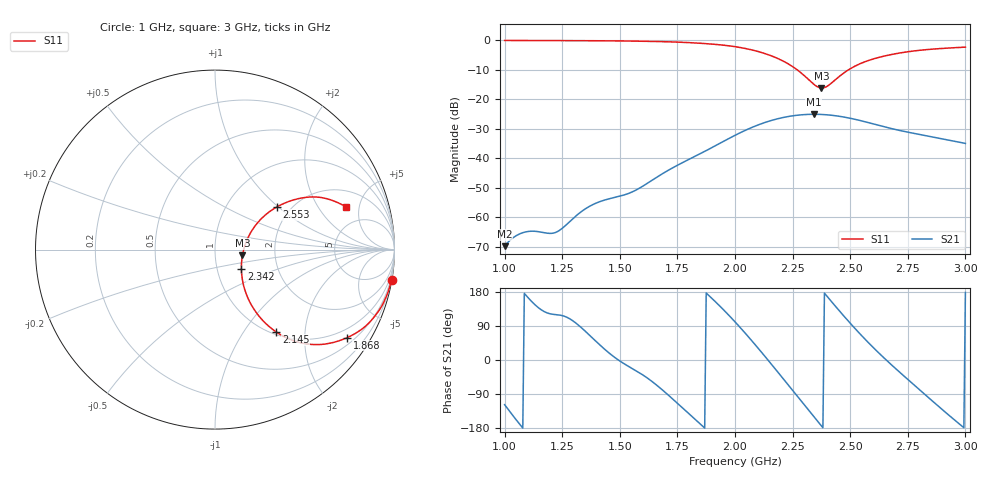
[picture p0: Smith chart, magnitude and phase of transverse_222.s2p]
! TOUCHSTONE file generated by CST MICROWAVE STUDIO
! Date and time: Tue Mar 11 13:57:51 2025
! Project name: transverse.cst
! Parameters = {Fracture=5; B=10; D=160; F=5; Feed=2.85625; L=100; M=20; R=0.384908; S=1; Theta=270; length=57.125; wave=114.25}
! Header version: 2024
! Port assignment regex: !\s*Touchstone port\s*([0-9]+)\s*=\s*(CST MWS port|CST DES external port|CST DES block port)\s*(.+)\s* \(\"(.*)\"\)(\s*mode\s*([0-9]+))?.*
! Touchstone port assignment:
! Touchstone port 1 = CST MWS port 1 ("")
! Touchstone port 2 = CST MWS port 2 ("")
# GHz S MA R 50
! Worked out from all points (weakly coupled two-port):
!   305 points, 1 GHz to 3 GHz, reference 50 ohm
!   highest |S21| = -25.03 dB at 2.342 GHz (marker M1); lowest = -69.7 dB at 1 GHz (marker M2)
!   lowest |S11| = -16.1 dB at 2.375 GHz (marker M3), VSWR 1.37, Z = 67.8 - j4.5 ohm
!   |S11| at or under -10 dB: 2.27 GHz to 2.492 GHz (221.4 MHz wide, 9.3 % of centre)
!   S12 and S22 are empty: the file has one direction only
!   S11 on the Smith chart (normalised r, x): 1 GHz: 0, -12; 1.868 GHz: 0.70, -3.16; 2.145 GHz: 1.04, -1.42; 2.342 GHz: 1.31, -0.29; 2.553 GHz: 1.70, +0.97; 3 GHz: 3.17, +3.69
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1  0.9979 -9.8  0.0003267 -117.9  0 0.0  0 0.0
1.03947  0.9972 -10.3  0.0004618 -149.5  0 0.0  0 0.0
1.08553  0.9963 -10.9  0.0005629 175.8  0 0.0  0 0.0
1.22368  0.9941 -13.1  0.0005633 119.7  0 0.0  0 0.0
1.33553  0.9898 -15.2  0.001278 84.0  0 0.0  0 0.0
1.40789  0.9865 -16.7  0.001824 42.8  0 0.0  0 0.0
1.55263  0.9742 -20.5  0.0027 -22.0  0 0.0  0 0.0
1.67105  0.9559 -24.4  0.005103 -71.9  0 0.0  0 0.0
1.86842  0.8845 -33.7  0.01317 -179.5  0 0.0  0 0.0
2  0.7832 -42.5  0.02465 100.8  0 0.0  0 0.0
2.07237  0.6914 -48.2  0.03342 51.2  0 0.0  0 0.0
2.14474  0.5716 -53.4  0.04249 -1.3  0 0.0  0 0.0
2.24342  0.3742 -56.7  0.05231 -75.2  0 0.0  0 0.0
2.33553  0.1902 -39.2  0.05602 -144.6  0 0.0  0 0.0
2.34211  0.1808 -35.7  0.05604 -149.5  0 0.0  0 0.0
2.375  0.156 -12.0  0.05566 -173.9  0 0.0  0 0.0
2.40132  0.1683 8.1  0.05478 166.8  0 0.0  0 0.0
2.46711  0.2713 31.6  0.05074 119.8  0 0.0  0 0.0
2.55263  0.4177 34.6  0.04302 62.4  0 0.0  0 0.0
2.67105  0.5685 30.5  0.03266 -8.3  0 0.0  0 0.0
2.82237  0.6928 23.9  0.02463 -89.9  0 0.0  0 0.0
3  0.7687 18.0  0.01799 178.1  0 0.0  0 0.0
